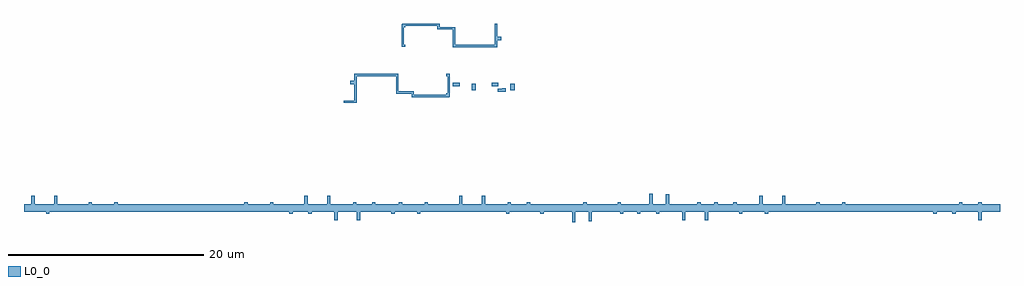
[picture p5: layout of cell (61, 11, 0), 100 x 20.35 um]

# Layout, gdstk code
import gdstk
lib = gdstk.Library(unit=1e-6, precision=1e-09)
def P(c, l, *ps):  # polygons
    for p in ps: c.add(gdstk.Polygon(p, *l))
L0_0 = (0, 0)

c__61__11__0_ = lib.new_cell('(61, 11, 0)')
P(c__61__11__0_, L0_0, [(900,981.52),(1000,981.52),(1000,980.72),(900,980.72),(900,981.52)],
  [(991.32,981.52),(991.32,980.72),(990,980.72),(990,981.52),(991.32,981.52)],
  [(947.76,981.52),(947.76,980.72),(946.44,980.72),(946.44,981.52),(947.76,981.52)],
  [(925.98,981.52),(925.98,980.72),(924.66,980.72),(924.66,981.52),(925.98,981.52)],
  [(944.91,982.36),(944.91,981.52),(946.895,981.52),(946.895,982.355),(947.235,982.355),(947.235,981.52),(949.55,981.52),(949.55,981.695),(949.89,981.695),(949.89,981.52),(951.505,981.52),(951.505,981.695),(951.845,981.695),(951.845,981.52),(953.04,981.52),(953.04,980.72),(937.86,980.72),(937.86,981.52),(938.41,981.52),(938.41,981.695),(938.75,981.695),(938.75,981.52),(941.05,981.52),(941.05,981.695),(941.39,981.695),(941.39,981.52),(944.57,981.52),(944.57,982.36),(944.91,982.36)],
  [(993.96,981.52),(994.62,981.52),(994.62,980.72),(993.96,980.72),(993.96,981.52)],
  [(955.68,981.52),(956.34,981.52),(956.34,980.72),(955.68,980.72),(955.68,981.52)],
  [(937.2,981.52),(937.86,981.52),(937.86,980.72),(937.2,980.72),(937.2,981.52)],
  [(1000,980.72),(998.125,980.72),(998.125,979.885),(997.785,979.885),(997.785,980.72),(995.47,980.72),(995.47,980.545),(995.13,980.545),(995.13,980.72),(993.515,980.72),(993.515,980.545),(993.175,980.545),(993.175,980.72),(991.98,980.72),(991.98,981.52),(1000,981.52),(1000,980.72)],
  [(1000,980.72),(994.62,980.72),(994.62,981.52),(995.815,981.52),(995.815,981.695),(996.155,981.695),(996.155,981.52),(997.77,981.52),(997.77,981.695),(998.11,981.695),(998.11,981.52),(1000,981.52),(1000,980.72)],
  [(946.44,981.52),(946.44,980.72),(941.16,980.72),(941.16,981.52),(946.44,981.52)],
  [(900,981.52),(900.765,981.52),(900.765,982.355),(901.105,982.355),(901.105,981.52),(903.09,981.52),(903.09,982.36),(903.43,982.36),(903.43,981.52),(906.61,981.52),(906.61,981.695),(906.95,981.695),(906.95,981.52),(909.25,981.52),(909.25,981.695),(909.59,981.695),(909.59,981.52),(910.14,981.52),(910.14,980.72),(900,980.72),(900,981.52)],
  [(969.75,979.88),(969.75,980.72),(967.765,980.72),(967.765,979.885),(967.425,979.885),(967.425,980.72),(965.11,980.72),(965.11,980.545),(964.77,980.545),(964.77,980.72),(963.155,980.72),(963.155,980.545),(962.815,980.545),(962.815,980.72),(961.62,980.72),(961.62,981.52),(976.8,981.52),(976.8,980.72),(976.25,980.72),(976.25,980.545),(975.91,980.545),(975.91,980.72),(973.61,980.72),(973.61,980.545),(973.27,980.545),(973.27,980.72),(970.09,980.72),(970.09,979.88),(969.75,979.88)],
  [(992.64,981.52),(993.96,981.52),(993.96,980.72),(992.64,980.72),(992.64,981.52)],
  [(920.7,981.52),(922.02,981.52),(922.02,980.72),(920.7,980.72),(920.7,981.52)],
  [(984.72,981.52),(990,981.52),(990,980.72),(984.72,980.72),(984.72,981.52)],
  [(900,981.52),(903.54,981.52),(903.54,980.72),(902.6,980.72),(902.6,980.545),(902.26,980.545),(902.26,980.72),(900,980.72),(900,981.52)],
  [(990,981.52),(990,980.72),(987.36,980.72),(987.36,981.52),(990,981.52)],
  [(956.16,979.65),(956.16,980.72),(953.23,980.72),(953.23,980.545),(952.89,980.545),(952.89,980.72),(949.73,980.72),(949.73,980.545),(949.39,980.545),(949.39,980.72),(948.42,980.72),(948.42,981.52),(961.62,981.52),(961.62,980.72),(961.42,980.72),(961.42,980.545),(961.08,980.545),(961.08,980.72),(958.19,980.72),(958.19,979.74),(957.85,979.74),(957.85,980.72),(956.5,980.72),(956.5,979.65),(956.16,979.65)],
  [(987.36,981.52),(987.36,980.72),(976.8,980.72),(976.8,981.52),(987.36,981.52)],
  [(978.01,981.52),(981.19,981.52),(981.19,981.695),(981.53,981.695),(981.53,981.52),(983.83,981.52),(983.83,981.695),(984.17,981.695),(984.17,981.52),(984.72,981.52),(984.72,980.72),(969.54,980.72),(969.54,981.52),(970.735,981.52),(970.735,981.695),(971.075,981.695),(971.075,981.52),(972.69,981.52),(972.69,981.695),(973.03,981.695),(973.03,981.52),(975.345,981.52),(975.345,982.355),(975.685,982.355),(975.685,981.52),(977.67,981.52),(977.67,982.36),(978.01,982.36),(978.01,981.52)],
  [(910.14,981.52),(920.7,981.52),(920.7,980.72),(910.14,980.72),(910.14,981.52)],
  [(990,981.52),(992.64,981.52),(992.64,980.72),(990,980.72),(990,981.52)],
  [(953.04,981.52),(955.68,981.52),(955.68,980.72),(953.04,980.72),(953.04,981.52)],
  [(934.11,979.88),(934.11,980.72),(932.125,980.72),(932.125,979.885),(931.785,979.885),(931.785,980.72),(929.47,980.72),(929.47,980.545),(929.13,980.545),(929.13,980.72),(927.515,980.72),(927.515,980.545),(927.175,980.545),(927.175,980.72),(925.98,980.72),(925.98,981.52),(941.16,981.52),(941.16,980.72),(940.61,980.72),(940.61,980.545),(940.27,980.545),(940.27,980.72),(937.97,980.72),(937.97,980.545),(937.63,980.545),(937.63,980.72),(934.45,980.72),(934.45,979.88),(934.11,979.88)],
  [(991.98,981.52),(991.98,980.72),(991.32,980.72),(991.32,981.52),(991.98,981.52)],
  [(948.42,981.52),(948.42,980.72),(947.76,980.72),(947.76,981.52),(948.42,981.52)],
  [(929.07,982.36),(929.07,981.52),(931.055,981.52),(931.055,982.355),(931.395,982.355),(931.395,981.52),(933.71,981.52),(933.71,981.695),(934.05,981.695),(934.05,981.52),(935.665,981.52),(935.665,981.695),(936.005,981.695),(936.005,981.52),(937.2,981.52),(937.2,980.72),(922.02,980.72),(922.02,981.52),(922.57,981.52),(922.57,981.695),(922.91,981.695),(922.91,981.52),(925.21,981.52),(925.21,981.695),(925.55,981.695),(925.55,981.52),(928.73,981.52),(928.73,982.36),(929.07,982.36)],
  [(964.42,981.52),(965.77,981.52),(965.77,982.5),(966.11,982.5),(966.11,981.52),(969,981.52),(969,981.695),(969.34,981.695),(969.34,981.52),(969.54,981.52),(969.54,980.72),(956.34,980.72),(956.34,981.52),(957.31,981.52),(957.31,981.695),(957.65,981.695),(957.65,981.52),(960.81,981.52),(960.81,981.695),(961.15,981.695),(961.15,981.52),(964.08,981.52),(964.08,982.59),(964.42,982.59),(964.42,981.52)],
  [(924.66,981.52),(924.66,980.72),(903.54,980.72),(903.54,981.52),(924.66,981.52)],
  [(910.14,981.52),(920.7,981.52),(920.7,980.72),(910.14,980.72),(910.14,981.52)],
  [(934.11,979.88),(934.11,980.72),(932.125,980.72),(932.125,979.885),(931.785,979.885),(931.785,980.72),(929.47,980.72),(929.47,980.545),(929.13,980.545),(929.13,980.72),(927.515,980.72),(927.515,980.545),(927.175,980.545),(927.175,980.72),(925.98,980.72),(925.98,981.52),(941.16,981.52),(941.16,980.72),(940.61,980.72),(940.61,980.545),(940.27,980.545),(940.27,980.72),(937.97,980.72),(937.97,980.545),(937.63,980.545),(937.63,980.72),(934.45,980.72),(934.45,979.88),(934.11,979.88)],
  [(900,981.52),(900.765,981.52),(900.765,982.355),(901.105,982.355),(901.105,981.52),(903.09,981.52),(903.09,982.36),(903.43,982.36),(903.43,981.52),(906.61,981.52),(906.61,981.695),(906.95,981.695),(906.95,981.52),(909.25,981.52),(909.25,981.695),(909.59,981.695),(909.59,981.52),(910.14,981.52),(910.14,980.72),(900,980.72),(900,981.52)],
  [(929.07,982.36),(929.07,981.52),(931.055,981.52),(931.055,982.355),(931.395,982.355),(931.395,981.52),(933.71,981.52),(933.71,981.695),(934.05,981.695),(934.05,981.52),(935.665,981.52),(935.665,981.695),(936.005,981.695),(936.005,981.52),(937.2,981.52),(937.2,980.72),(922.02,980.72),(922.02,981.52),(922.57,981.52),(922.57,981.695),(922.91,981.695),(922.91,981.52),(925.21,981.52),(925.21,981.695),(925.55,981.695),(925.55,981.52),(928.73,981.52),(928.73,982.36),(929.07,982.36)],
  [(925.98,981.52),(925.98,980.72),(924.66,980.72),(924.66,981.52),(925.98,981.52)],
  [(920.7,981.52),(922.02,981.52),(922.02,980.72),(920.7,980.72),(920.7,981.52)],
  [(924.66,981.52),(924.66,980.72),(903.54,980.72),(903.54,981.52),(924.66,981.52)],
  [(900,981.52),(903.54,981.52),(903.54,980.72),(902.6,980.72),(902.6,980.545),(902.26,980.545),(902.26,980.72),(900,980.72),(900,981.52)],
  [(945.92,993.86),(946.3,993.86),(946.3,993.58),(945.92,993.58),(945.92,993.86)],
  [(945.87,993.86),(946.3,993.86),(946.3,993.185),(945.87,993.185),(945.87,993.86)],
  [(943.94,993.86),(944.32,993.86),(944.32,993.58),(943.94,993.58),(943.94,993.86)],
  [(943.94,993.95),(944.64,993.95),(944.64,993.58),(943.94,993.58),(943.94,993.95)],
  [(949.36,993.385),(949.36,993.02),(948.56,993.02),(948.56,993.345),(949.02,993.345),(949.02,993.385),(949.36,993.385)],
  [(948.56,993.3),(948.94,993.3),(948.94,993.02),(948.56,993.02),(948.56,993.3)],
  [(949.83,993.86),(950.26,993.86),(950.26,993.185),(949.83,993.185),(949.83,993.86)],
  [(949.88,993.86),(950.26,993.86),(950.26,993.58),(949.88,993.58),(949.88,993.86)],
  [(947.9,993.95),(948.6,993.95),(948.6,993.58),(947.9,993.58),(947.9,993.95)],
  [(947.9,993.86),(948.28,993.86),(948.28,993.58),(947.9,993.58),(947.9,993.86)],
  [(953.04,981.52),(955.68,981.52),(955.68,980.72),(953.04,980.72),(953.04,981.52)],
  [(934.11,979.88),(934.11,980.72),(932.125,980.72),(932.125,979.885),(931.785,979.885),(931.785,980.72),(929.47,980.72),(929.47,980.545),(929.13,980.545),(929.13,980.72),(927.515,980.72),(927.515,980.545),(927.175,980.545),(927.175,980.72),(925.98,980.72),(925.98,981.52),(941.16,981.52),(941.16,980.72),(940.61,980.72),(940.61,980.545),(940.27,980.545),(940.27,980.72),(937.97,980.72),(937.97,980.545),(937.63,980.545),(937.63,980.72),(934.45,980.72),(934.45,979.88),(934.11,979.88)],
  [(990,981.52),(990,980.72),(987.36,980.72),(987.36,981.52),(990,981.52)],
  [(969.75,979.88),(969.75,980.72),(967.765,980.72),(967.765,979.885),(967.425,979.885),(967.425,980.72),(965.11,980.72),(965.11,980.545),(964.77,980.545),(964.77,980.72),(963.155,980.72),(963.155,980.545),(962.815,980.545),(962.815,980.72),(961.62,980.72),(961.62,981.52),(976.8,981.52),(976.8,980.72),(976.25,980.72),(976.25,980.545),(975.91,980.545),(975.91,980.72),(973.61,980.72),(973.61,980.545),(973.27,980.545),(973.27,980.72),(970.09,980.72),(970.09,979.88),(969.75,979.88)],
  [(956.16,979.65),(956.16,980.72),(953.23,980.72),(953.23,980.545),(952.89,980.545),(952.89,980.72),(949.73,980.72),(949.73,980.545),(949.39,980.545),(949.39,980.72),(948.42,980.72),(948.42,981.52),(961.62,981.52),(961.62,980.72),(961.42,980.72),(961.42,980.545),(961.08,980.545),(961.08,980.72),(958.19,980.72),(958.19,979.74),(957.85,979.74),(957.85,980.72),(956.5,980.72),(956.5,979.65),(956.16,979.65)],
  [(947.76,981.52),(947.76,980.72),(946.44,980.72),(946.44,981.52),(947.76,981.52)],
  [(948.42,981.52),(948.42,980.72),(947.76,980.72),(947.76,981.52),(948.42,981.52)],
  [(944.91,982.36),(944.91,981.52),(946.895,981.52),(946.895,982.355),(947.235,982.355),(947.235,981.52),(949.55,981.52),(949.55,981.695),(949.89,981.695),(949.89,981.52),(951.505,981.52),(951.505,981.695),(951.845,981.695),(951.845,981.52),(953.04,981.52),(953.04,980.72),(937.86,980.72),(937.86,981.52),(938.41,981.52),(938.41,981.695),(938.75,981.695),(938.75,981.52),(941.05,981.52),(941.05,981.695),(941.39,981.695),(941.39,981.52),(944.57,981.52),(944.57,982.36),(944.91,982.36)],
  [(964.42,981.52),(965.77,981.52),(965.77,982.5),(966.11,982.5),(966.11,981.52),(969,981.52),(969,981.695),(969.34,981.695),(969.34,981.52),(969.54,981.52),(969.54,980.72),(956.34,980.72),(956.34,981.52),(957.31,981.52),(957.31,981.695),(957.65,981.695),(957.65,981.52),(960.81,981.52),(960.81,981.695),(961.15,981.695),(961.15,981.52),(964.08,981.52),(964.08,982.59),(964.42,982.59),(964.42,981.52)],
  [(987.36,981.52),(987.36,980.72),(976.8,980.72),(976.8,981.52),(987.36,981.52)],
  [(955.68,981.52),(956.34,981.52),(956.34,980.72),(955.68,980.72),(955.68,981.52)],
  [(937.2,981.52),(937.86,981.52),(937.86,980.72),(937.2,980.72),(937.2,981.52)],
  [(984.72,981.52),(990,981.52),(990,980.72),(984.72,980.72),(984.72,981.52)],
  [(978.01,981.52),(981.19,981.52),(981.19,981.695),(981.53,981.695),(981.53,981.52),(983.83,981.52),(983.83,981.695),(984.17,981.695),(984.17,981.52),(984.72,981.52),(984.72,980.72),(969.54,980.72),(969.54,981.52),(970.735,981.52),(970.735,981.695),(971.075,981.695),(971.075,981.52),(972.69,981.52),(972.69,981.695),(973.03,981.695),(973.03,981.52),(975.345,981.52),(975.345,982.355),(975.685,982.355),(975.685,981.52),(977.67,981.52),(977.67,982.36),(978.01,982.36),(978.01,981.52)],
  [(946.44,981.52),(946.44,980.72),(941.16,980.72),(941.16,981.52),(946.44,981.52)],
  [(953.04,981.52),(955.68,981.52),(955.68,980.72),(953.04,980.72),(953.04,981.52)],
  [(934.11,979.88),(934.11,980.72),(932.125,980.72),(932.125,979.885),(931.785,979.885),(931.785,980.72),(929.47,980.72),(929.47,980.545),(929.13,980.545),(929.13,980.72),(927.515,980.72),(927.515,980.545),(927.175,980.545),(927.175,980.72),(925.98,980.72),(925.98,981.52),(941.16,981.52),(941.16,980.72),(940.61,980.72),(940.61,980.545),(940.27,980.545),(940.27,980.72),(937.97,980.72),(937.97,980.545),(937.63,980.545),(937.63,980.72),(934.45,980.72),(934.45,979.88),(934.11,979.88)],
  [(956.16,979.65),(956.16,980.72),(953.23,980.72),(953.23,980.545),(952.89,980.545),(952.89,980.72),(949.73,980.72),(949.73,980.545),(949.39,980.545),(949.39,980.72),(948.42,980.72),(948.42,981.52),(961.62,981.52),(961.62,980.72),(961.42,980.72),(961.42,980.545),(961.08,980.545),(961.08,980.72),(958.19,980.72),(958.19,979.74),(957.85,979.74),(957.85,980.72),(956.5,980.72),(956.5,979.65),(956.16,979.65)],
  [(947.76,981.52),(947.76,980.72),(946.44,980.72),(946.44,981.52),(947.76,981.52)],
  [(948.42,981.52),(948.42,980.72),(947.76,980.72),(947.76,981.52),(948.42,981.52)],
  [(944.91,982.36),(944.91,981.52),(946.895,981.52),(946.895,982.355),(947.235,982.355),(947.235,981.52),(949.55,981.52),(949.55,981.695),(949.89,981.695),(949.89,981.52),(951.505,981.52),(951.505,981.695),(951.845,981.695),(951.845,981.52),(953.04,981.52),(953.04,980.72),(937.86,980.72),(937.86,981.52),(938.41,981.52),(938.41,981.695),(938.75,981.695),(938.75,981.52),(941.05,981.52),(941.05,981.695),(941.39,981.695),(941.39,981.52),(944.57,981.52),(944.57,982.36),(944.91,982.36)],
  [(925.98,981.52),(925.98,980.72),(924.66,980.72),(924.66,981.52),(925.98,981.52)],
  [(929.07,982.36),(929.07,981.52),(931.055,981.52),(931.055,982.355),(931.395,982.355),(931.395,981.52),(933.71,981.52),(933.71,981.695),(934.05,981.695),(934.05,981.52),(935.665,981.52),(935.665,981.695),(936.005,981.695),(936.005,981.52),(937.2,981.52),(937.2,980.72),(922.02,980.72),(922.02,981.52),(922.57,981.52),(922.57,981.695),(922.91,981.695),(922.91,981.52),(925.21,981.52),(925.21,981.695),(925.55,981.695),(925.55,981.52),(928.73,981.52),(928.73,982.36),(929.07,982.36)],
  [(955.68,981.52),(956.34,981.52),(956.34,980.72),(955.68,980.72),(955.68,981.52)],
  [(937.2,981.52),(937.86,981.52),(937.86,980.72),(937.2,980.72),(937.2,981.52)],
  [(946.44,981.52),(946.44,980.72),(941.16,980.72),(941.16,981.52),(946.44,981.52)],
  [(953.04,981.52),(955.68,981.52),(955.68,980.72),(953.04,980.72),(953.04,981.52)],
  [(934.11,979.88),(934.11,980.72),(932.125,980.72),(932.125,979.885),(931.785,979.885),(931.785,980.72),(929.47,980.72),(929.47,980.545),(929.13,980.545),(929.13,980.72),(927.515,980.72),(927.515,980.545),(927.175,980.545),(927.175,980.72),(925.98,980.72),(925.98,981.52),(941.16,981.52),(941.16,980.72),(940.61,980.72),(940.61,980.545),(940.27,980.545),(940.27,980.72),(937.97,980.72),(937.97,980.545),(937.63,980.545),(937.63,980.72),(934.45,980.72),(934.45,979.88),(934.11,979.88)],
  [(947.76,981.52),(947.76,980.72),(946.44,980.72),(946.44,981.52),(947.76,981.52)],
  [(948.42,981.52),(948.42,980.72),(947.76,980.72),(947.76,981.52),(948.42,981.52)],
  [(944.91,982.36),(944.91,981.52),(946.895,981.52),(946.895,982.355),(947.235,982.355),(947.235,981.52),(949.55,981.52),(949.55,981.695),(949.89,981.695),(949.89,981.52),(951.505,981.52),(951.505,981.695),(951.845,981.695),(951.845,981.52),(953.04,981.52),(953.04,980.72),(937.86,980.72),(937.86,981.52),(938.41,981.52),(938.41,981.695),(938.75,981.695),(938.75,981.52),(941.05,981.52),(941.05,981.695),(941.39,981.695),(941.39,981.52),(944.57,981.52),(944.57,982.36),(944.91,982.36)],
  [(929.07,982.36),(929.07,981.52),(931.055,981.52),(931.055,982.355),(931.395,982.355),(931.395,981.52),(933.71,981.52),(933.71,981.695),(934.05,981.695),(934.05,981.52),(935.665,981.52),(935.665,981.695),(936.005,981.695),(936.005,981.52),(937.2,981.52),(937.2,980.72),(922.02,980.72),(922.02,981.52),(922.57,981.52),(922.57,981.695),(922.91,981.695),(922.91,981.52),(925.21,981.52),(925.21,981.695),(925.55,981.695),(925.55,981.52),(928.73,981.52),(928.73,982.36),(929.07,982.36)],
  [(925.98,981.52),(925.98,980.72),(924.66,980.72),(924.66,981.52),(925.98,981.52)],
  [(920.7,981.52),(922.02,981.52),(922.02,980.72),(920.7,980.72),(920.7,981.52)],
  [(937.2,981.52),(937.86,981.52),(937.86,980.72),(937.2,980.72),(937.2,981.52)],
  [(924.66,981.52),(924.66,980.72),(903.54,980.72),(903.54,981.52),(924.66,981.52)],
  [(946.44,981.52),(946.44,980.72),(941.16,980.72),(941.16,981.52),(946.44,981.52)],
  [(990,981.52),(992.64,981.52),(992.64,980.72),(990,980.72),(990,981.52)],
  [(990,981.52),(990,980.72),(987.36,980.72),(987.36,981.52),(990,981.52)],
  [(969.75,979.88),(969.75,980.72),(967.765,980.72),(967.765,979.885),(967.425,979.885),(967.425,980.72),(965.11,980.72),(965.11,980.545),(964.77,980.545),(964.77,980.72),(963.155,980.72),(963.155,980.545),(962.815,980.545),(962.815,980.72),(961.62,980.72),(961.62,981.52),(976.8,981.52),(976.8,980.72),(976.25,980.72),(976.25,980.545),(975.91,980.545),(975.91,980.72),(973.61,980.72),(973.61,980.545),(973.27,980.545),(973.27,980.72),(970.09,980.72),(970.09,979.88),(969.75,979.88)],
  [(991.32,981.52),(991.32,980.72),(990,980.72),(990,981.52),(991.32,981.52)],
  [(991.98,981.52),(991.98,980.72),(991.32,980.72),(991.32,981.52),(991.98,981.52)],
  [(992.64,981.52),(993.96,981.52),(993.96,980.72),(992.64,980.72),(992.64,981.52)],
  [(987.36,981.52),(987.36,980.72),(976.8,980.72),(976.8,981.52),(987.36,981.52)],
  [(993.96,981.52),(994.62,981.52),(994.62,980.72),(993.96,980.72),(993.96,981.52)],
  [(978.01,981.52),(981.19,981.52),(981.19,981.695),(981.53,981.695),(981.53,981.52),(983.83,981.52),(983.83,981.695),(984.17,981.695),(984.17,981.52),(984.72,981.52),(984.72,980.72),(969.54,980.72),(969.54,981.52),(970.735,981.52),(970.735,981.695),(971.075,981.695),(971.075,981.52),(972.69,981.52),(972.69,981.695),(973.03,981.695),(973.03,981.52),(975.345,981.52),(975.345,982.355),(975.685,982.355),(975.685,981.52),(977.67,981.52),(977.67,982.36),(978.01,982.36),(978.01,981.52)],
  [(984.72,981.52),(990,981.52),(990,980.72),(984.72,980.72),(984.72,981.52)],
  [(1000,980.72),(998.125,980.72),(998.125,979.885),(997.785,979.885),(997.785,980.72),(995.47,980.72),(995.47,980.545),(995.13,980.545),(995.13,980.72),(993.515,980.72),(993.515,980.545),(993.175,980.545),(993.175,980.72),(991.98,980.72),(991.98,981.52),(1000,981.52),(1000,980.72)],
  [(1000,980.72),(994.62,980.72),(994.62,981.52),(995.815,981.52),(995.815,981.695),(996.155,981.695),(996.155,981.52),(997.77,981.52),(997.77,981.695),(998.11,981.695),(998.11,981.52),(1000,981.52),(1000,980.72)],
  [(990,981.52),(992.64,981.52),(992.64,980.72),(990,980.72),(990,981.52)],
  [(990,981.52),(990,980.72),(987.36,980.72),(987.36,981.52),(990,981.52)],
  [(969.75,979.88),(969.75,980.72),(967.765,980.72),(967.765,979.885),(967.425,979.885),(967.425,980.72),(965.11,980.72),(965.11,980.545),(964.77,980.545),(964.77,980.72),(963.155,980.72),(963.155,980.545),(962.815,980.545),(962.815,980.72),(961.62,980.72),(961.62,981.52),(976.8,981.52),(976.8,980.72),(976.25,980.72),(976.25,980.545),(975.91,980.545),(975.91,980.72),(973.61,980.72),(973.61,980.545),(973.27,980.545),(973.27,980.72),(970.09,980.72),(970.09,979.88),(969.75,979.88)],
  [(991.32,981.52),(991.32,980.72),(990,980.72),(990,981.52),(991.32,981.52)],
  [(991.98,981.52),(991.98,980.72),(991.32,980.72),(991.32,981.52),(991.98,981.52)],
  [(992.64,981.52),(993.96,981.52),(993.96,980.72),(992.64,980.72),(992.64,981.52)],
  [(993.96,981.52),(994.62,981.52),(994.62,980.72),(993.96,980.72),(993.96,981.52)],
  [(987.36,981.52),(987.36,980.72),(976.8,980.72),(976.8,981.52),(987.36,981.52)],
  [(978.01,981.52),(981.19,981.52),(981.19,981.695),(981.53,981.695),(981.53,981.52),(983.83,981.52),(983.83,981.695),(984.17,981.695),(984.17,981.52),(984.72,981.52),(984.72,980.72),(969.54,980.72),(969.54,981.52),(970.735,981.52),(970.735,981.695),(971.075,981.695),(971.075,981.52),(972.69,981.52),(972.69,981.695),(973.03,981.695),(973.03,981.52),(975.345,981.52),(975.345,982.355),(975.685,982.355),(975.685,981.52),(977.67,981.52),(977.67,982.36),(978.01,982.36),(978.01,981.52)],
  [(1000,980.72),(998.125,980.72),(998.125,979.885),(997.785,979.885),(997.785,980.72),(995.47,980.72),(995.47,980.545),(995.13,980.545),(995.13,980.72),(993.515,980.72),(993.515,980.545),(993.175,980.545),(993.175,980.72),(991.98,980.72),(991.98,981.52),(1000,981.52),(1000,980.72)],
  [(1000,980.72),(994.62,980.72),(994.62,981.52),(995.815,981.52),(995.815,981.695),(996.155,981.695),(996.155,981.52),(997.77,981.52),(997.77,981.695),(998.11,981.695),(998.11,981.52),(1000,981.52),(1000,980.72)],
  [(953.04,981.52),(955.68,981.52),(955.68,980.72),(953.04,980.72),(953.04,981.52)],
  [(934.11,979.88),(934.11,980.72),(932.125,980.72),(932.125,979.885),(931.785,979.885),(931.785,980.72),(929.47,980.72),(929.47,980.545),(929.13,980.545),(929.13,980.72),(927.515,980.72),(927.515,980.545),(927.175,980.545),(927.175,980.72),(925.98,980.72),(925.98,981.52),(941.16,981.52),(941.16,980.72),(940.61,980.72),(940.61,980.545),(940.27,980.545),(940.27,980.72),(937.97,980.72),(937.97,980.545),(937.63,980.545),(937.63,980.72),(934.45,980.72),(934.45,979.88),(934.11,979.88)],
  [(947.76,981.52),(947.76,980.72),(946.44,980.72),(946.44,981.52),(947.76,981.52)],
  [(948.42,981.52),(948.42,980.72),(947.76,980.72),(947.76,981.52),(948.42,981.52)],
  [(944.91,982.36),(944.91,981.52),(946.895,981.52),(946.895,982.355),(947.235,982.355),(947.235,981.52),(949.55,981.52),(949.55,981.695),(949.89,981.695),(949.89,981.52),(951.505,981.52),(951.505,981.695),(951.845,981.695),(951.845,981.52),(953.04,981.52),(953.04,980.72),(937.86,980.72),(937.86,981.52),(938.41,981.52),(938.41,981.695),(938.75,981.695),(938.75,981.52),(941.05,981.52),(941.05,981.695),(941.39,981.695),(941.39,981.52),(944.57,981.52),(944.57,982.36),(944.91,982.36)],
  [(925.98,981.52),(925.98,980.72),(924.66,980.72),(924.66,981.52),(925.98,981.52)],
  [(929.07,982.36),(929.07,981.52),(931.055,981.52),(931.055,982.355),(931.395,982.355),(931.395,981.52),(933.71,981.52),(933.71,981.695),(934.05,981.695),(934.05,981.52),(935.665,981.52),(935.665,981.695),(936.005,981.695),(936.005,981.52),(937.2,981.52),(937.2,980.72),(922.02,980.72),(922.02,981.52),(922.57,981.52),(922.57,981.695),(922.91,981.695),(922.91,981.52),(925.21,981.52),(925.21,981.695),(925.55,981.695),(925.55,981.52),(928.73,981.52),(928.73,982.36),(929.07,982.36)],
  [(937.2,981.52),(937.86,981.52),(937.86,980.72),(937.2,980.72),(937.2,981.52)],
  [(910.14,981.52),(920.7,981.52),(920.7,980.72),(910.14,980.72),(910.14,981.52)],
  [(934.11,979.88),(934.11,980.72),(932.125,980.72),(932.125,979.885),(931.785,979.885),(931.785,980.72),(929.47,980.72),(929.47,980.545),(929.13,980.545),(929.13,980.72),(927.515,980.72),(927.515,980.545),(927.175,980.545),(927.175,980.72),(925.98,980.72),(925.98,981.52),(941.16,981.52),(941.16,980.72),(940.61,980.72),(940.61,980.545),(940.27,980.545),(940.27,980.72),(937.97,980.72),(937.97,980.545),(937.63,980.545),(937.63,980.72),(934.45,980.72),(934.45,979.88),(934.11,979.88)],
  [(900,981.52),(900.765,981.52),(900.765,982.355),(901.105,982.355),(901.105,981.52),(903.09,981.52),(903.09,982.36),(903.43,982.36),(903.43,981.52),(906.61,981.52),(906.61,981.695),(906.95,981.695),(906.95,981.52),(909.25,981.52),(909.25,981.695),(909.59,981.695),(909.59,981.52),(910.14,981.52),(910.14,980.72),(900,980.72),(900,981.52)],
  [(944.91,982.36),(944.91,981.52),(946.895,981.52),(946.895,982.355),(947.235,982.355),(947.235,981.52),(949.55,981.52),(949.55,981.695),(949.89,981.695),(949.89,981.52),(951.505,981.52),(951.505,981.695),(951.845,981.695),(951.845,981.52),(953.04,981.52),(953.04,980.72),(937.86,980.72),(937.86,981.52),(938.41,981.52),(938.41,981.695),(938.75,981.695),(938.75,981.52),(941.05,981.52),(941.05,981.695),(941.39,981.695),(941.39,981.52),(944.57,981.52),(944.57,982.36),(944.91,982.36)],
  [(929.07,982.36),(929.07,981.52),(931.055,981.52),(931.055,982.355),(931.395,982.355),(931.395,981.52),(933.71,981.52),(933.71,981.695),(934.05,981.695),(934.05,981.52),(935.665,981.52),(935.665,981.695),(936.005,981.695),(936.005,981.52),(937.2,981.52),(937.2,980.72),(922.02,980.72),(922.02,981.52),(922.57,981.52),(922.57,981.695),(922.91,981.695),(922.91,981.52),(925.21,981.52),(925.21,981.695),(925.55,981.695),(925.55,981.52),(928.73,981.52),(928.73,982.36),(929.07,982.36)],
  [(925.98,981.52),(925.98,980.72),(924.66,980.72),(924.66,981.52),(925.98,981.52)],
  [(920.7,981.52),(922.02,981.52),(922.02,980.72),(920.7,980.72),(920.7,981.52)],
  [(937.2,981.52),(937.86,981.52),(937.86,980.72),(937.2,980.72),(937.2,981.52)],
  [(924.66,981.52),(924.66,980.72),(903.54,980.72),(903.54,981.52),(924.66,981.52)],
  [(934.11,979.88),(934.11,980.72),(932.125,980.72),(932.125,979.885),(931.785,979.885),(931.785,980.72),(929.47,980.72),(929.47,980.545),(929.13,980.545),(929.13,980.72),(927.515,980.72),(927.515,980.545),(927.175,980.545),(927.175,980.72),(925.98,980.72),(925.98,981.52),(941.16,981.52),(941.16,980.72),(940.61,980.72),(940.61,980.545),(940.27,980.545),(940.27,980.72),(937.97,980.72),(937.97,980.545),(937.63,980.545),(937.63,980.72),(934.45,980.72),(934.45,979.88),(934.11,979.88)],
  [(947.76,981.52),(947.76,980.72),(946.44,980.72),(946.44,981.52),(947.76,981.52)],
  [(948.42,981.52),(948.42,980.72),(947.76,980.72),(947.76,981.52),(948.42,981.52)],
  [(944.91,982.36),(944.91,981.52),(946.895,981.52),(946.895,982.355),(947.235,982.355),(947.235,981.52),(949.55,981.52),(949.55,981.695),(949.89,981.695),(949.89,981.52),(951.505,981.52),(951.505,981.695),(951.845,981.695),(951.845,981.52),(953.04,981.52),(953.04,980.72),(937.86,980.72),(937.86,981.52),(938.41,981.52),(938.41,981.695),(938.75,981.695),(938.75,981.52),(941.05,981.52),(941.05,981.695),(941.39,981.695),(941.39,981.52),(944.57,981.52),(944.57,982.36),(944.91,982.36)],
  [(925.98,981.52),(925.98,980.72),(924.66,980.72),(924.66,981.52),(925.98,981.52)],
  [(929.07,982.36),(929.07,981.52),(931.055,981.52),(931.055,982.355),(931.395,982.355),(931.395,981.52),(933.71,981.52),(933.71,981.695),(934.05,981.695),(934.05,981.52),(935.665,981.52),(935.665,981.695),(936.005,981.695),(936.005,981.52),(937.2,981.52),(937.2,980.72),(922.02,980.72),(922.02,981.52),(922.57,981.52),(922.57,981.695),(922.91,981.695),(922.91,981.52),(925.21,981.52),(925.21,981.695),(925.55,981.695),(925.55,981.52),(928.73,981.52),(928.73,982.36),(929.07,982.36)],
  [(937.2,981.52),(937.86,981.52),(937.86,980.72),(937.2,980.72),(937.2,981.52)],
  [(934.11,979.88),(934.11,980.72),(932.125,980.72),(932.125,979.885),(931.785,979.885),(931.785,980.72),(929.47,980.72),(929.47,980.545),(929.13,980.545),(929.13,980.72),(927.515,980.72),(927.515,980.545),(927.175,980.545),(927.175,980.72),(925.98,980.72),(925.98,981.52),(941.16,981.52),(941.16,980.72),(940.61,980.72),(940.61,980.545),(940.27,980.545),(940.27,980.72),(937.97,980.72),(937.97,980.545),(937.63,980.545),(937.63,980.72),(934.45,980.72),(934.45,979.88),(934.11,979.88)],
  [(948.42,981.52),(948.42,980.72),(947.76,980.72),(947.76,981.52),(948.42,981.52)],
  [(944.91,982.36),(944.91,981.52),(946.895,981.52),(946.895,982.355),(947.235,982.355),(947.235,981.52),(949.55,981.52),(949.55,981.695),(949.89,981.695),(949.89,981.52),(951.505,981.52),(951.505,981.695),(951.845,981.695),(951.845,981.52),(953.04,981.52),(953.04,980.72),(937.86,980.72),(937.86,981.52),(938.41,981.52),(938.41,981.695),(938.75,981.695),(938.75,981.52),(941.05,981.52),(941.05,981.695),(941.39,981.695),(941.39,981.52),(944.57,981.52),(944.57,982.36),(944.91,982.36)],
  [(925.98,981.52),(925.98,980.72),(924.66,980.72),(924.66,981.52),(925.98,981.52)],
  [(920.7,981.52),(922.02,981.52),(922.02,980.72),(920.7,980.72),(920.7,981.52)],
  [(929.07,982.36),(929.07,981.52),(931.055,981.52),(931.055,982.355),(931.395,982.355),(931.395,981.52),(933.71,981.52),(933.71,981.695),(934.05,981.695),(934.05,981.52),(935.665,981.52),(935.665,981.695),(936.005,981.695),(936.005,981.52),(937.2,981.52),(937.2,980.72),(922.02,980.72),(922.02,981.52),(922.57,981.52),(922.57,981.695),(922.91,981.695),(922.91,981.52),(925.21,981.52),(925.21,981.695),(925.55,981.695),(925.55,981.52),(928.73,981.52),(928.73,982.36),(929.07,982.36)],
  [(937.2,981.52),(937.86,981.52),(937.86,980.72),(937.2,980.72),(937.2,981.52)],
  [(944.91,982.36),(944.91,981.52),(946.895,981.52),(946.895,982.355),(947.235,982.355),(947.235,981.52),(949.55,981.52),(949.55,981.695),(949.89,981.695),(949.89,981.52),(951.505,981.52),(951.505,981.695),(951.845,981.695),(951.845,981.52),(953.04,981.52),(953.04,980.72),(937.86,980.72),(937.86,981.52),(938.41,981.52),(938.41,981.695),(938.75,981.695),(938.75,981.52),(941.05,981.52),(941.05,981.695),(941.39,981.695),(941.39,981.52),(944.57,981.52),(944.57,982.36),(944.91,982.36)],
  [(937.2,981.52),(937.86,981.52),(937.86,980.72),(937.2,980.72),(937.2,981.52)],
  [(929.07,982.36),(929.07,981.52),(931.055,981.52),(931.055,982.355),(931.395,982.355),(931.395,981.52),(933.71,981.52),(933.71,981.695),(934.05,981.695),(934.05,981.52),(935.665,981.52),(935.665,981.695),(936.005,981.695),(936.005,981.52),(937.2,981.52),(937.2,980.72),(922.02,980.72),(922.02,981.52),(922.57,981.52),(922.57,981.695),(922.91,981.695),(922.91,981.52),(925.21,981.52),(925.21,981.695),(925.55,981.695),(925.55,981.52),(928.73,981.52),(928.73,982.36),(929.07,982.36)],
  [(920.7,981.52),(922.02,981.52),(922.02,980.72),(920.7,980.72),(920.7,981.52)],
  [(969.75,979.88),(969.75,980.72),(967.765,980.72),(967.765,979.885),(967.425,979.885),(967.425,980.72),(965.11,980.72),(965.11,980.545),(964.77,980.545),(964.77,980.72),(963.155,980.72),(963.155,980.545),(962.815,980.545),(962.815,980.72),(961.62,980.72),(961.62,981.52),(976.8,981.52),(976.8,980.72),(976.25,980.72),(976.25,980.545),(975.91,980.545),(975.91,980.72),(973.61,980.72),(973.61,980.545),(973.27,980.545),(973.27,980.72),(970.09,980.72),(970.09,979.88),(969.75,979.88)],
  [(978.01,981.52),(981.19,981.52),(981.19,981.695),(981.53,981.695),(981.53,981.52),(983.83,981.52),(983.83,981.695),(984.17,981.695),(984.17,981.52),(984.72,981.52),(984.72,980.72),(969.54,980.72),(969.54,981.52),(970.735,981.52),(970.735,981.695),(971.075,981.695),(971.075,981.52),(972.69,981.52),(972.69,981.695),(973.03,981.695),(973.03,981.52),(975.345,981.52),(975.345,982.355),(975.685,982.355),(975.685,981.52),(977.67,981.52),(977.67,982.36),(978.01,982.36),(978.01,981.52)],
  [(987.36,981.52),(987.36,980.72),(976.8,980.72),(976.8,981.52),(987.36,981.52)],
  [(934.11,979.88),(934.11,980.72),(932.125,980.72),(932.125,979.885),(931.785,979.885),(931.785,980.72),(929.47,980.72),(929.47,980.545),(929.13,980.545),(929.13,980.72),(927.515,980.72),(927.515,980.545),(927.175,980.545),(927.175,980.72),(925.98,980.72),(925.98,981.52),(941.16,981.52),(941.16,980.72),(940.61,980.72),(940.61,980.545),(940.27,980.545),(940.27,980.72),(937.97,980.72),(937.97,980.545),(937.63,980.545),(937.63,980.72),(934.45,980.72),(934.45,979.88),(934.11,979.88)],
  [(948.42,981.52),(948.42,980.72),(947.76,980.72),(947.76,981.52),(948.42,981.52)],
  [(929.07,982.36),(929.07,981.52),(931.055,981.52),(931.055,982.355),(931.395,982.355),(931.395,981.52),(933.71,981.52),(933.71,981.695),(934.05,981.695),(934.05,981.52),(935.665,981.52),(935.665,981.695),(936.005,981.695),(936.005,981.52),(937.2,981.52),(937.2,980.72),(922.02,980.72),(922.02,981.52),(922.57,981.52),(922.57,981.695),(922.91,981.695),(922.91,981.52),(925.21,981.52),(925.21,981.695),(925.55,981.695),(925.55,981.52),(928.73,981.52),(928.73,982.36),(929.07,982.36)],
  [(944.91,982.36),(944.91,981.52),(946.895,981.52),(946.895,982.355),(947.235,982.355),(947.235,981.52),(949.55,981.52),(949.55,981.695),(949.89,981.695),(949.89,981.52),(951.505,981.52),(951.505,981.695),(951.845,981.695),(951.845,981.52),(953.04,981.52),(953.04,980.72),(937.86,980.72),(937.86,981.52),(938.41,981.52),(938.41,981.695),(938.75,981.695),(938.75,981.52),(941.05,981.52),(941.05,981.695),(941.39,981.695),(941.39,981.52),(944.57,981.52),(944.57,982.36),(944.91,982.36)],
  [(937.2,981.52),(937.86,981.52),(937.86,980.72),(937.2,980.72),(937.2,981.52)],
  [(929.07,982.36),(929.07,981.52),(931.055,981.52),(931.055,982.355),(931.395,982.355),(931.395,981.52),(933.71,981.52),(933.71,981.695),(934.05,981.695),(934.05,981.52),(935.665,981.52),(935.665,981.695),(936.005,981.695),(936.005,981.52),(937.2,981.52),(937.2,980.72),(922.02,980.72),(922.02,981.52),(922.57,981.52),(922.57,981.695),(922.91,981.695),(922.91,981.52),(925.21,981.52),(925.21,981.695),(925.55,981.695),(925.55,981.52),(928.73,981.52),(928.73,982.36),(929.07,982.36)],
  [(937.2,981.52),(937.86,981.52),(937.86,980.72),(937.2,980.72),(937.2,981.52)],
  [(934.11,979.88),(934.11,980.72),(932.125,980.72),(932.125,979.885),(931.785,979.885),(931.785,980.72),(929.47,980.72),(929.47,980.545),(929.13,980.545),(929.13,980.72),(927.515,980.72),(927.515,980.545),(927.175,980.545),(927.175,980.72),(925.98,980.72),(925.98,981.52),(941.16,981.52),(941.16,980.72),(940.61,980.72),(940.61,980.545),(940.27,980.545),(940.27,980.72),(937.97,980.72),(937.97,980.545),(937.63,980.545),(937.63,980.72),(934.45,980.72),(934.45,979.88),(934.11,979.88)],
  [(944.91,982.36),(944.91,981.52),(946.895,981.52),(946.895,982.355),(947.235,982.355),(947.235,981.52),(949.55,981.52),(949.55,981.695),(949.89,981.695),(949.89,981.52),(951.505,981.52),(951.505,981.695),(951.845,981.695),(951.845,981.52),(953.04,981.52),(953.04,980.72),(937.86,980.72),(937.86,981.52),(938.41,981.52),(938.41,981.695),(938.75,981.695),(938.75,981.52),(941.05,981.52),(941.05,981.695),(941.39,981.695),(941.39,981.52),(944.57,981.52),(944.57,982.36),(944.91,982.36)],
  [(938.37,993.055),(939.955,993.055),(939.955,992.7),(943.28,992.7),(943.28,992.86),(943.395,992.86),(943.395,994.625),(943.28,994.625),(943.28,994.855),(943.625,994.855),(943.625,992.575),(943.62,992.575),(943.62,992.52),(943.565,992.52),(943.565,992.47),(939.725,992.47),(939.725,992.825),(938.14,992.825),(938.14,994.64),(934.085,994.64),(934.085,991.885),(932.77,991.885),(932.77,992.115),(933.855,992.115),(933.855,993.81),(933.43,993.81),(933.43,994.16),(933.855,994.16),(933.855,994.87),(938.37,994.87),(938.37,993.055)],
  [(969.75,979.88),(969.75,980.72),(967.765,980.72),(967.765,979.885),(967.425,979.885),(967.425,980.72),(965.11,980.72),(965.11,980.545),(964.77,980.545),(964.77,980.72),(963.155,980.72),(963.155,980.545),(962.815,980.545),(962.815,980.72),(961.62,980.72),(961.62,981.52),(976.8,981.52),(976.8,980.72),(976.25,980.72),(976.25,980.545),(975.91,980.545),(975.91,980.72),(973.61,980.72),(973.61,980.545),(973.27,980.545),(973.27,980.72),(970.09,980.72),(970.09,979.88),(969.75,979.88)],
  [(978.01,981.52),(981.19,981.52),(981.19,981.695),(981.53,981.695),(981.53,981.52),(983.83,981.52),(983.83,981.695),(984.17,981.695),(984.17,981.52),(984.72,981.52),(984.72,980.72),(969.54,980.72),(969.54,981.52),(970.735,981.52),(970.735,981.695),(971.075,981.695),(971.075,981.52),(972.69,981.52),(972.69,981.695),(973.03,981.695),(973.03,981.52),(975.345,981.52),(975.345,982.355),(975.685,982.355),(975.685,981.52),(977.67,981.52),(977.67,982.36),(978.01,982.36),(978.01,981.52)],
  [(944.91,982.36),(944.91,981.52),(946.895,981.52),(946.895,982.355),(947.235,982.355),(947.235,981.52),(949.55,981.52),(949.55,981.695),(949.89,981.695),(949.89,981.52),(951.505,981.52),(951.505,981.695),(951.845,981.695),(951.845,981.52),(953.04,981.52),(953.04,980.72),(937.86,980.72),(937.86,981.52),(938.41,981.52),(938.41,981.695),(938.75,981.695),(938.75,981.52),(941.05,981.52),(941.05,981.695),(941.39,981.695),(941.39,981.52),(944.57,981.52),(944.57,982.36),(944.91,982.36)],
  [(934.11,979.88),(934.11,980.72),(932.125,980.72),(932.125,979.885),(931.785,979.885),(931.785,980.72),(929.47,980.72),(929.47,980.545),(929.13,980.545),(929.13,980.72),(927.515,980.72),(927.515,980.545),(927.175,980.545),(927.175,980.72),(925.98,980.72),(925.98,981.52),(941.16,981.52),(941.16,980.72),(940.61,980.72),(940.61,980.545),(940.27,980.545),(940.27,980.72),(937.97,980.72),(937.97,980.545),(937.63,980.545),(937.63,980.72),(934.45,980.72),(934.45,979.88),(934.11,979.88)],
  [(929.07,982.36),(929.07,981.52),(931.055,981.52),(931.055,982.355),(931.395,982.355),(931.395,981.52),(933.71,981.52),(933.71,981.695),(934.05,981.695),(934.05,981.52),(935.665,981.52),(935.665,981.695),(936.005,981.695),(936.005,981.52),(937.2,981.52),(937.2,980.72),(922.02,980.72),(922.02,981.52),(922.57,981.52),(922.57,981.695),(922.91,981.695),(922.91,981.52),(925.21,981.52),(925.21,981.695),(925.55,981.695),(925.55,981.52),(928.73,981.52),(928.73,982.36),(929.07,982.36)],
  [(942.595,1000),(942.595,999.655),(944.18,999.655),(944.18,997.84),(948.235,997.84),(948.235,1000),(948.465,1000),(948.465,998.67),(948.89,998.67),(948.89,998.32),(948.465,998.32),(948.465,997.61),(943.95,997.61),(943.95,999.425),(942.365,999.425),(942.365,999.78),(939.04,999.78),(939.04,999.62),(938.925,999.62),(938.925,997.855),(939.04,997.855),(939.04,997.625),(938.695,997.625),(938.695,999.905),(938.7,999.905),(938.7,999.96),(938.755,999.96),(938.755,1000),(942.595,1000)])

lib.write_gds('_61__11__0_.gds')
